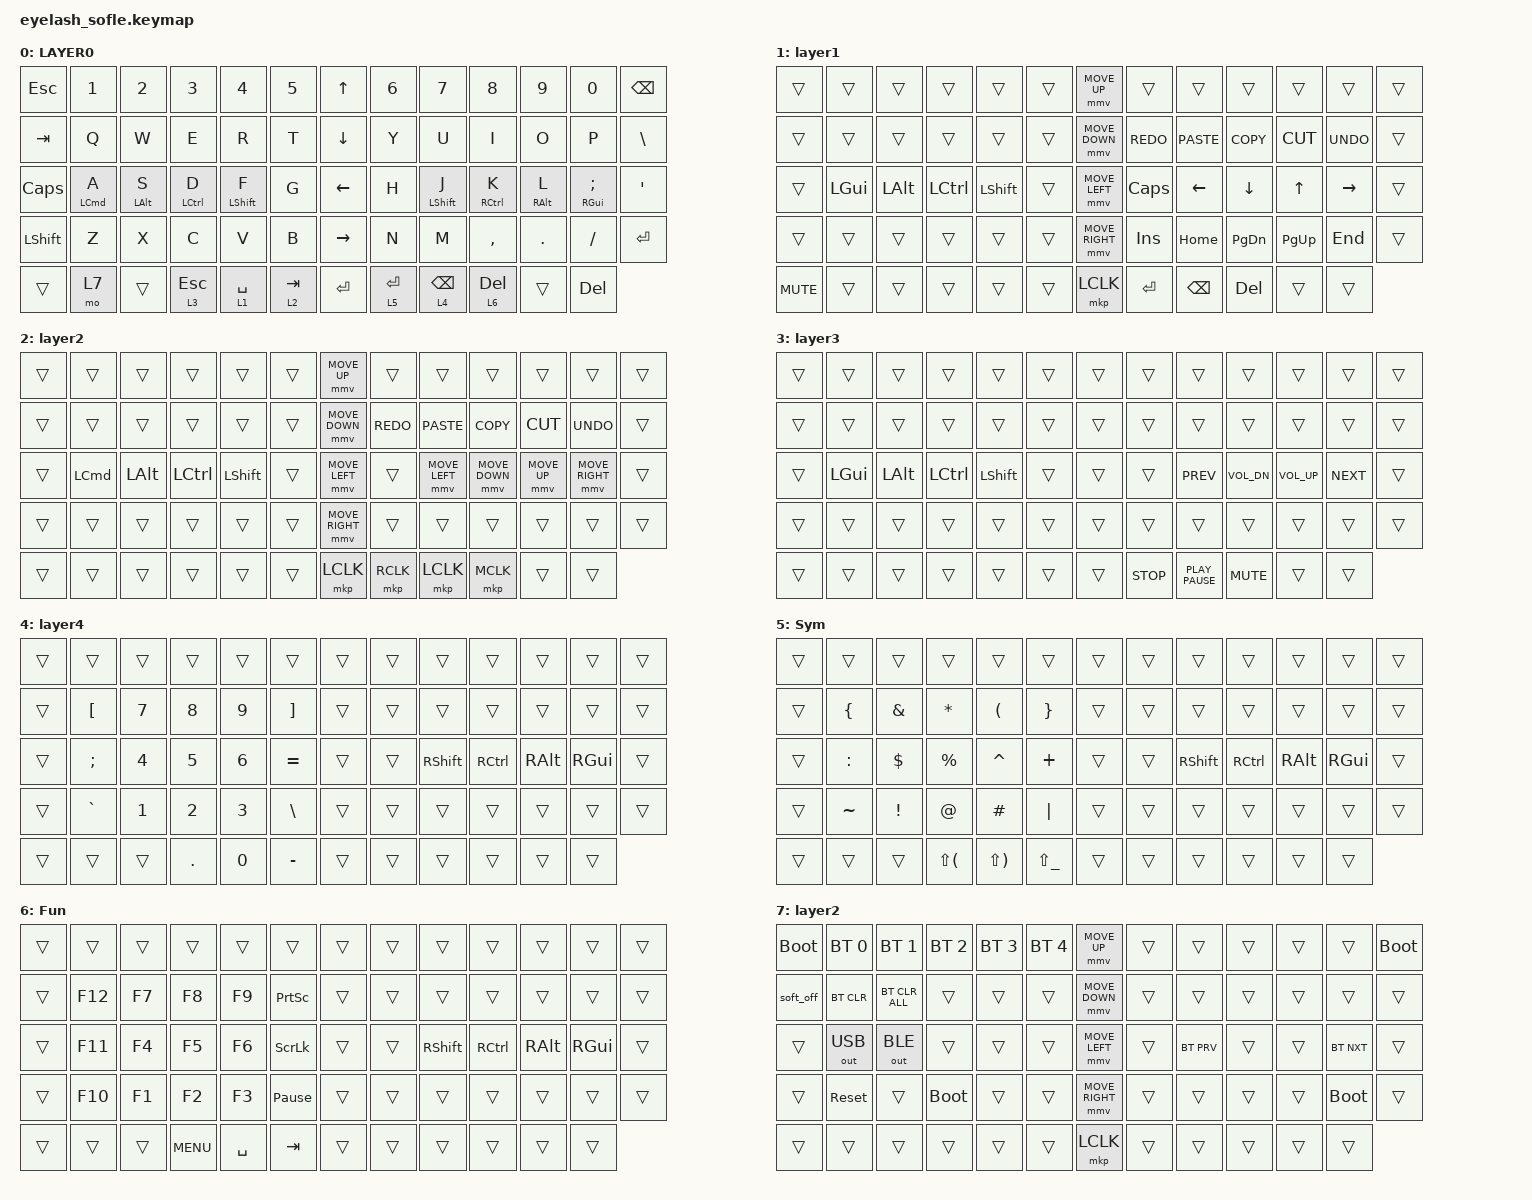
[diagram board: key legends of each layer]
#define ZMK_POINTING_DEFAULT_MOVE_VAL 1200  // 600
#define ZMK_POINTING_DEFAULT_SCRL_VAL 25   // 10

#include <input/processors.dtsi>
#include <zephyr/dt-bindings/input/input-event-codes.h>
#include <behaviors.dtsi>
#include <dt-bindings/zmk/bt.h>
#include <dt-bindings/zmk/keys.h>
#include <dt-bindings/zmk/outputs.h>
#include <dt-bindings/zmk/pointing.h>

&mmv_input_listener { input-processors = <&zip_xy_scaler 2 1>; };

&msc_input_listener { input-processors = <&zip_scroll_scaler 2 1>; };

&msc {
    acceleration-exponent = <1>;      // 0
    time-to-max-speed-ms = <100>;       // 300
    delay-ms = <0>;                   // 0
};

&mmv {
    time-to-max-speed-ms = <500>;
    acceleration-exponent = <1>;
    trigger-period-ms = <16>;
};

&soft_off { hold-time-ms = <2000>; };

/ {
    u_mt: u_mt {
        compatible = "zmk,behavior-hold-tap";
        label = "U_MT";
        bindings = <&kp>, <&kp>;

        #binding-cells = <2>;
        flavor = "tap-preferred";
        tapping-term-ms = <200>;
    };

    u_lt: u_lt {
        compatible = "zmk,behavior-hold-tap";
        label = "U_LT";
        bindings = <&mo>, <&kp>;

        #binding-cells = <2>;
        flavor = "tap-preferred";
        tapping-term-ms = <200>;
    };

    behaviors {
    };

    combos {
        compatible = "zmk,combos";

        softoff {
            bindings = <&soft_off>;
            key-positions = <14 28 40>;
        };
    };

    keymap {
        compatible = "zmk,keymap";

        base_layer {
            bindings = <
&kp ESC    &kp N1                &kp N2            &kp N3                &kp N4            &kp N5         &kp UP_ARROW     &kp N6         &kp N7              &kp N8          &kp N9             &kp N0                &kp BACKSPACE
&kp TAB    &kp Q                 &kp W             &kp E                 &kp R             &kp T          &kp DOWN_ARROW   &kp Y          &kp U               &kp I           &kp O              &kp P                 &kp BSLH
&kp CAPS   &u_mt LEFT_COMMAND A  &u_mt LEFT_ALT S  &u_mt LEFT_CONTROL D  &mt LEFT_SHIFT F  &kp G          &kp LEFT_ARROW   &kp H          &u_mt LEFT_SHIFT J  &u_mt RCTRL K   &u_mt RIGHT_ALT L  &u_mt RIGHT_GUI SEMI  &kp APOS
&kp LSHFT  &kp Z                 &kp X             &kp C                 &kp V             &kp B          &kp RIGHT_ARROW  &kp N          &kp M               &kp COMMA       &kp DOT            &kp FSLH              &kp ENTER
&trans     &mo 7                 &trans            &u_lt 3 ESCAPE        &u_lt 1 SPACE     &u_lt 2 TAB    &kp ENTER        &u_lt 5 ENTER  &u_lt 4 BACKSPACE   &u_lt 6 DELETE  &trans             &kp DELETE
            >;

            display-name = "LAYER0";
        };

        nav {
            bindings = <
&trans      &trans    &trans    &trans     &trans     &trans    &mmv MOVE_UP     &trans      &trans         &trans         &trans       &trans      &trans
&trans      &trans    &trans    &trans     &trans     &trans    &mmv MOVE_DOWN   &kp K_REDO  &kp K_PASTE    &kp K_COPY     &kp K_CUT    &kp K_UNDO  &trans
&trans      &kp LGUI  &kp LALT  &kp LCTRL  &kp LSHFT  &trans    &mmv MOVE_LEFT   &kp CAPS    &kp LEFT       &kp DOWN       &kp UP       &kp RIGHT   &trans
&trans      &trans    &trans    &trans     &trans     &trans    &mmv MOVE_RIGHT  &kp INSERT  &kp HOME       &kp PAGE_DOWN  &kp PAGE_UP  &kp END     &trans
&kp C_MUTE  &trans    &trans    &trans     &trans     &trans    &mkp LCLK        &kp ENTER   &kp BACKSPACE  &kp DELETE     &trans       &trans
            >;

            display-name = "layer1";
        };

        Mouse {
            bindings = <
&trans  &trans            &trans        &trans     &trans          &trans    &mmv MOVE_UP     &trans      &trans          &trans          &trans        &trans           &trans
&trans  &trans            &trans        &trans     &trans          &trans    &mmv MOVE_DOWN   &kp K_REDO  &kp K_PASTE     &kp K_COPY      &kp K_CUT     &kp K_UNDO       &trans
&trans  &kp LEFT_COMMAND  &kp LEFT_ALT  &kp LCTRL  &kp LEFT_SHIFT  &trans    &mmv MOVE_LEFT   &trans      &mmv MOVE_LEFT  &mmv MOVE_DOWN  &mmv MOVE_UP  &mmv MOVE_RIGHT  &trans
&trans  &trans            &trans        &trans     &trans          &trans    &mmv MOVE_RIGHT  &trans      &trans          &trans          &trans        &trans           &trans
&trans  &trans            &trans        &trans     &trans          &trans    &mkp LCLK        &mkp RCLK   &mkp LCLK       &mkp MCLK       &trans        &trans
            >;

            display-name = "layer2";
        };

        Media {
            bindings = <
&trans  &trans    &trans    &trans     &trans     &trans    &trans  &trans      &trans            &trans        &trans           &trans      &trans
&trans  &trans    &trans    &trans     &trans     &trans    &trans  &trans      &trans            &trans        &trans           &trans      &trans
&trans  &kp LGUI  &kp LALT  &kp LCTRL  &kp LSHFT  &trans    &trans  &trans      &kp K_PREV        &kp C_VOL_DN  &kp C_VOLUME_UP  &kp K_NEXT  &trans
&trans  &trans    &trans    &trans     &trans     &trans    &trans  &trans      &trans            &trans        &trans           &trans      &trans
&trans  &trans    &trans    &trans     &trans     &trans    &trans  &kp K_STOP  &kp K_PLAY_PAUSE  &kp K_MUTE    &trans           &trans
            >;

            display-name = "layer3";
        };

        Num {
            bindings = <
&trans  &trans     &trans  &trans   &trans  &trans               &trans  &trans  &trans     &trans     &trans    &trans    &trans
&trans  &kp LBKT   &kp N7  &kp N8   &kp N9  &kp RIGHT_BRACKET    &trans  &trans  &trans     &trans     &trans    &trans    &trans
&trans  &kp SEMI   &kp N4  &kp N5   &kp N6  &kp EQUAL            &trans  &trans  &kp RSHFT  &kp RCTRL  &kp RALT  &kp RGUI  &trans
&trans  &kp GRAVE  &kp N1  &kp N2   &kp N3  &kp BACKSLASH        &trans  &trans  &trans     &trans     &trans    &trans    &trans
&trans  &trans     &trans  &kp DOT  &kp N0  &kp MINUS            &trans  &trans  &trans     &trans     &trans    &trans
            >;

            display-name = "layer4";
        };

        Sym {
            bindings = <
&trans  &trans          &trans           &trans        &trans                &trans             &trans  &trans  &trans     &trans     &trans    &trans    &trans
&trans  &kp LEFT_BRACE  &kp AMPERSAND    &kp ASTERISK  &kp LEFT_PARENTHESIS  &kp RIGHT_BRACE    &trans  &trans  &trans     &trans     &trans    &trans    &trans
&trans  &kp COLON       &kp DOLLAR       &kp PERCENT   &kp CARET             &kp PLUS           &trans  &trans  &kp RSHFT  &kp RCTRL  &kp RALT  &kp RGUI  &trans
&trans  &kp TILDE       &kp EXCLAMATION  &kp AT_SIGN   &kp HASH              &kp PIPE           &trans  &trans  &trans     &trans     &trans    &trans    &trans
&trans  &trans          &trans           &kp LS(LPAR)  &kp LS(RPAR)          &kp LS(UNDER)      &trans  &trans  &trans     &trans     &trans    &trans
            >;
        };

        Fun {
            bindings = <
&trans  &trans   &trans  &trans      &trans     &trans             &trans  &trans  &trans     &trans     &trans    &trans    &trans
&trans  &kp F12  &kp F7  &kp F8      &kp F9     &kp PRINTSCREEN    &trans  &trans  &trans     &trans     &trans    &trans    &trans
&trans  &kp F11  &kp F4  &kp F5      &kp F6     &kp SCROLLLOCK     &trans  &trans  &kp RSHFT  &kp RCTRL  &kp RALT  &kp RGUI  &trans
&trans  &kp F10  &kp F1  &kp F2      &kp F3     &kp PAUSE_BREAK    &trans  &trans  &trans     &trans     &trans    &trans    &trans
&trans  &trans   &trans  &kp C_MENU  &kp SPACE  &kp TAB            &trans  &trans  &trans     &trans     &trans    &trans
            >;
        };

        bt_layer {
            display-name = "layer2";
            bindings = <
&bootloader  &bt BT_SEL 0  &bt BT_SEL 1    &bt BT_SEL 2  &bt BT_SEL 3  &bt BT_SEL 4    &mmv MOVE_UP     &trans  &trans      &trans  &trans  &trans       &bootloader
&soft_off    &bt BT_CLR    &bt BT_CLR_ALL  &trans        &trans        &trans          &mmv MOVE_DOWN   &trans  &trans      &trans  &trans  &trans       &trans
&trans       &out OUT_USB  &out OUT_BLE    &trans        &trans        &trans          &mmv MOVE_LEFT   &trans  &bt BT_PRV  &trans  &trans  &bt BT_NXT   &trans
&trans       &sys_reset    &trans          &bootloader   &trans        &trans          &mmv MOVE_RIGHT  &trans  &trans      &trans  &trans  &bootloader  &trans
&trans       &trans        &trans          &trans        &trans        &trans          &mkp LCLK        &trans  &trans      &trans  &trans  &trans
            >;
        };
    };
};
